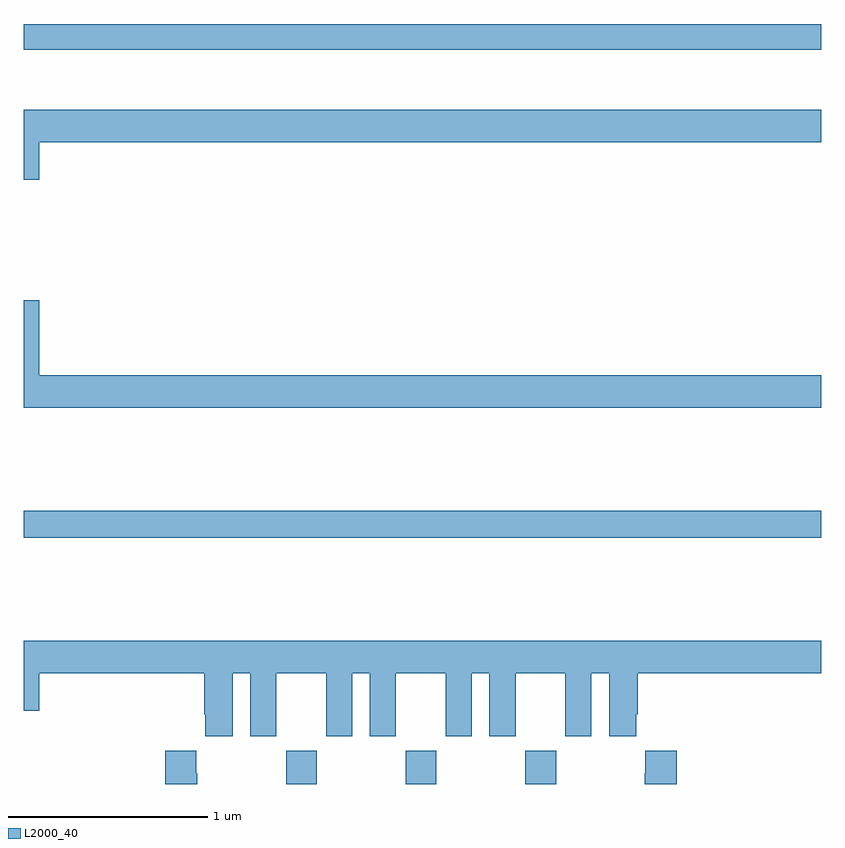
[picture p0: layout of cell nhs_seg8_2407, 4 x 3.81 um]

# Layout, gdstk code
import gdstk
lib = gdstk.Library(unit=1e-6, precision=1e-09)
def R(c, l, rs):  # rectangles x0, y0, x1, y1
    for r in rs: c.add(gdstk.rectangle(r[:2], r[2:], *l))
def A(c, l, x, y, w, h, nx, ny, dx, dy):  # array of equal rectangles
    R(c, l, [(x+i*dx, y+j*dy, x+i*dx+w, y+j*dy+h) for i in range(nx) for j in range(ny)])
def P(c, l, *ps):  # polygons
    for p in ps: c.add(gdstk.Polygon(p, *l))
L2000_40 = (2000, 40)

nhs_seg8_2407 = lib.new_cell('nhs_seg8_2407')
A(nhs_seg8_2407, L2000_40, 262.315, 1159.9, 0.155, 0.168, 3, 1, 0.6, 0)
R(nhs_seg8_2407, L2000_40, [(261,1161.136,265,1161.272), (261,1163.586,265,1163.714)])
P(nhs_seg8_2407, L2000_40, [(261.076,1163.12),(265,1163.12),(265,1163.284),(261,1163.284),(261,1162.932),(261.076,1162.932)],
  [(265,1161.952),(261.076,1161.952),(261.076,1162.327),(261,1162.327),(261,1161.788),(265,1161.788)],
  [(262.048,1160.456),(262.136,1160.456),(262.136,1160.139),(262.267,1160.139),(262.267,1160.456),(262.517,1160.456),(262.517,1160.139),(262.648,1160.139),(262.648,1160.456),(262.736,1160.456),(262.736,1160.139),(262.867,1160.139),(262.867,1160.456),(263.117,1160.456),(263.117,1160.139),(263.248,1160.139),(263.248,1160.456),(263.336,1160.456),(263.336,1160.139),(263.467,1160.139),(263.467,1160.456),(263.717,1160.456),(263.717,1160.139),(263.848,1160.139),(263.848,1160.456),(263.936,1160.456),(263.936,1160.139),(264.073,1160.139),(264.073,1160.251),(264.08,1160.251),(264.08,1160.456),(265,1160.456),(265,1160.62),(261,1160.62),(261,1160.268),(261.076,1160.268),(261.076,1160.456),(261.904,1160.456),(261.904,1160.251),(261.911,1160.251),(261.911,1160.139),(262.048,1160.139)],
  [(264.275,1160.068),(264.119,1160.068),(264.119,1159.955),(264.115,1159.955),(264.115,1159.9),(264.275,1159.9)],
  [(261.87,1159.955),(261.865,1159.955),(261.865,1160.068),(261.71,1160.068),(261.71,1159.9),(261.87,1159.9)])

lib.write_gds('nhs_seg8_2407.gds')
